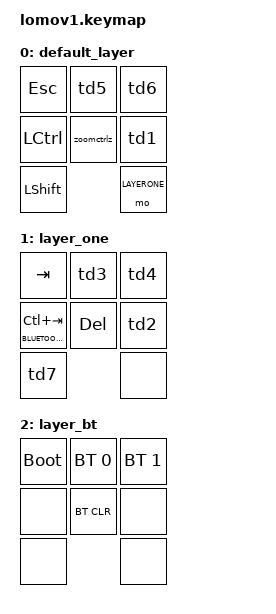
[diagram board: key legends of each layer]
#include <behaviors.dtsi>
#include <dt-bindings/zmk/keys.h>
#include <dt-bindings/zmk/bt.h>

&pinctrl {
    spi0_default: spi0_default {
        group1 {
            psels = <NRF_PSEL(SPIM_SCK, 0, 20)>,
                <NRF_PSEL(SPIM_MOSI, 0, 22)>,
                <NRF_PSEL(SPIM_MISO, 0, 25)>;
        };
    };
    spi0_sleep: spi0_sleep {
        group1 {
            psels = <NRF_PSEL(SPIM_SCK, 0, 20)>,
                <NRF_PSEL(SPIM_MOSI, 0, 22)>,
                <NRF_PSEL(SPIM_MISO, 0, 25)>;
            low-power-enable;
        };
    };
};

nice_view_spi: &spi0 {
    compatible = "nordic,nrf-spim";
    pinctrl-0 = <&spi0_default>;
    pinctrl-1 = <&spi0_sleep>;
    pinctrl-names = "default", "sleep";
    cs-gpios = <&pro_micro 2 GPIO_ACTIVE_HIGH>;
};

&pro_micro_i2c {
    status = "disabled";
};


#define LAYERZERO 0
#define LAYERONE 1
#define BLUETOOTH 2

/ {

    behaviors {
        td0: tap_dance_0 {
            compatible = "zmk,behavior-tap-dance";
            label = "HIDE/SHOW/ZOOM WINDOW";
            #binding-cells = <0>;
            tapping-term-ms = <300>;
            bindings = <&kp LC(LS(F11))>, <&kp LC(LS(F4))>, <&kp LC(F8)>;
        };

        td1: tap_dance_1 {
            compatible = "zmk,behavior-tap-dance";
            label = "JOIN/EXPLODE/FILLET";
            #binding-cells = <0>;
            tapping-term-ms = <300>;
            bindings = <&kp LC(F12)>,  <&kp LC(LS(F12))>,  <&kp LC(LS(F5))>;
        };

        td2: tap_dance_2 {
            compatible = "zmk,behavior-tap-dance";
            label = "COPY";
            #binding-cells = <0>;
            tapping-term-ms = <300>;
            bindings = <&kp LC(C)>, <&kp LC(V)>, <&kp LC(LS(F6))>;
        };

        td3: tap_dance_3 {
            compatible = "zmk,behavior-tap-dance";
            label = "SPLIT/TRIM/EXTENDSRF";
            #binding-cells = <0>;
            tapping-term-ms = <300>;
            bindings = <&kp LC(LS(F7))>, <&kp LC(F11)>,  <&kp LC(LS(F9))>;
        };

        td4: tap_dance_4 {
            compatible = "zmk,behavior-tap-dance";
            label = "OFFSET/OFFSETSRF";
            #binding-cells = <0>;
            tapping-term-ms = <300>;
            bindings = <&kp LC(LS(F3))>, <&kp LC(LS(F8))>;
        };

        td5: tap_dance_5 {
            compatible = "zmk,behavior-tap-dance";
            label = "MOVE/ROTATE3D/MIRROR";
            #binding-cells = <0>;
            tapping-term-ms = <300>;
            bindings = <&kp LC(F1)>, <&kp LC(F2)>, <&kp LC(F4)>;
        };

        td6: tap_dance_6 {
            compatible = "zmk,behavior-tap-dance";
            label = "EXTRACTSRF/EXTRACTISOCURVE";
            #binding-cells = <0>;
            tapping-term-ms = <300>;
            bindings = <&kp LC(F10)>, <&kp LC(F3)>;
        };

        td7: tap_dance_7 {
            compatible = "zmk,behavior-tap-dance";
            label = "SELLAST/ISOLATE";
            #binding-cells = <0>;
            tapping-term-ms = <300>;
            bindings = <&kp LC(LS(F10))>, <&kp LC(LS(F1))>;
        };

        ZOOMctrlz: zoom_ctrlz {
            compatible = "zmk,behavior-mod-morph";
            label = "JOIN_CTRLZ";
            #binding-cells = <0>;
            bindings = <&td0>, <&kp LC(Z)>;
            mods = <(MOD_LSFT)>;
         };
    };

    keymap {

        compatible = "zmk,keymap";

        default_layer {

        //  | ESCAPE          | MOVE/ROTATE3D/MIRROR - CTRLZ    | EXTRACTSRF/EXTRACTISOCURVE          |
        //  | LCTRL           | HIDE/SHOW/ZOOM WINDOW           | JOIN/EXPLODE/FILLET                 | 
        //  | SHIFT                                             | LAYERCHANGE                         |

         bindings = <
             &kp ESC           &td5                              &td6
             &kp LCTRL         &zoomctrlz                        &td1                                 
             &kp LSHIFT                                          &mo LAYERONE
             >;
        };

        layer_one {

        //  | TAB                      | SPLIT/TRIM/EXTEND SRF      | OFFSET/OFFSETSRF       |
        //  | LAYERCHANGE/SWITCH VIEW  | DELETE                     | COPY                   |
        //  | SELLAST/ISOLATE                                       | NONE                   |

         bindings = < 
             &kp TAB                    &td3                         &td4 
             &lt BLUETOOTH LC(TAB)      &kp DEL                      &td2 
             &td7                                                    &none
             >;
        };

        layer_bt {

        //  | Bootloader      | BT Profile 0      | BT Profile 1 |
        //  | NONE            | BT Profile Clear  | NONE         |
        //  | NONE                                | NONE         |

         bindings = <
             &bootloader       &bt BT_SEL 0        &bt BT_SEL 1
             &none             &bt BT_CLR          &none
             &none                                 &none   
             >;
        };
    };
};
